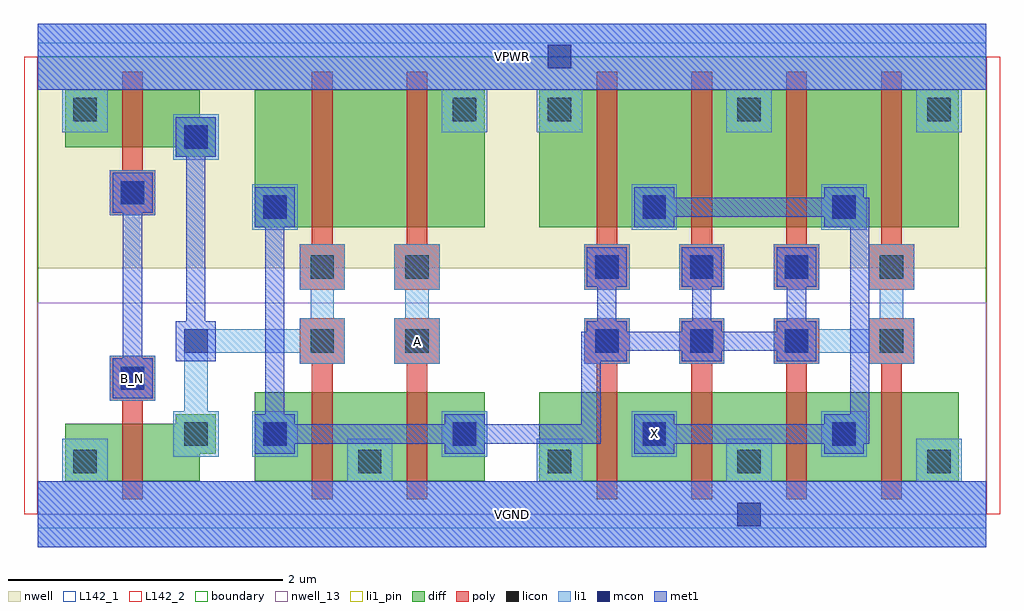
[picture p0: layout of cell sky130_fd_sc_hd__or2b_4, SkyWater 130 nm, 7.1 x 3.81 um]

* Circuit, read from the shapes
.subckt sky130_fd_sc_hd__or2b_4 A B_N VGND VPWR X
XM1 n1 B_N VGND VSUBS sky130_fd_pr__nfet_01v8 w=0.42 l=0.15
XM2 VGND n1 n2 VSUBS sky130_fd_pr__nfet_01v8 w=0.65 l=0.15
XM3 n2 A VGND VSUBS sky130_fd_pr__nfet_01v8 w=0.65 l=0.15
XM4 X n2 VGND VSUBS sky130_fd_pr__nfet_01v8 w=0.65 l=0.15 m=4
XM5 n1 B_N VPWR n3 sky130_fd_pr__pfet_01v8 w=0.42 l=0.15
XM6 n4 n1 n2 n3 sky130_fd_pr__pfet_01v8 w=1 l=0.15
XM7 VPWR A n4 n3 sky130_fd_pr__pfet_01v8 w=1 l=0.15
XM8 X n2 VPWR n3 sky130_fd_pr__pfet_01v8 w=1 l=0.15 m=4
.ends

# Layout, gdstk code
import gdstk
lib = gdstk.Library(unit=1e-6, precision=1e-09)
def R(c, l, rs):  # rectangles x0, y0, x1, y1
    for r in rs: c.add(gdstk.rectangle(r[:2], r[2:], *l))
def A(c, l, x, y, w, h, nx, ny, dx, dy):  # array of equal rectangles
    R(c, l, [(x+i*dx, y+j*dy, x+i*dx+w, y+j*dy+h) for i in range(nx) for j in range(ny)])
def P(c, l, *ps):  # polygons
    for p in ps: c.add(gdstk.Polygon(p, *l))
nwell_13 = (64, 13)
nwell = (64, 20)
diff = (65, 20)
poly = (66, 20)
licon = (66, 44)
li1_pin = (67, 16)
li1 = (67, 20)
mcon = (67, 44)
met1 = (68, 20)
L142_1 = (142, 1)
L142_2 = (142, 2)
boundary = (235, 4)

sky130_fd_sc_hd__or2b_4 = lib.new_cell('sky130_fd_sc_hd__or2b_4')
R(sky130_fd_sc_hd__or2b_4, nwell_13, [(0,0,6.9,1.54)])
R(sky130_fd_sc_hd__or2b_4, nwell, [(0,1.79,6.9,3.33)])
A(sky130_fd_sc_hd__or2b_4, diff, 4.065, 0.24, 0.69, 0.65, 3, 1, 0.69, 0)
A(sky130_fd_sc_hd__or2b_4, diff, 4.065, 2.09, 0.69, 1, 3, 1, 0.69, 0)
R(sky130_fd_sc_hd__or2b_4, diff, [(0.2,0.24,1.18,0.66), (0.2,0.24,0.615,0.66), (1.58,0.24,3.25,0.89), (1.58,0.24,1.995,0.89), (1.995,0.24,2.685,0.89), (2.685,0.24,3.25,0.89), (3.65,0.24,6.7,0.89), (3.65,0.24,4.065,0.89), (6.135,0.24,6.7,0.89), (1.58,2.09,3.25,3.09), (1.58,2.09,1.995,3.09), (1.995,2.09,2.685,3.09), (2.685,2.09,3.25,3.09), (3.65,2.09,6.7,3.09), (3.65,2.09,4.065,3.09), (6.135,2.09,6.7,3.09), (0.2,2.67,1.18,3.09), (0.2,2.67,0.615,3.09)])
P(sky130_fd_sc_hd__or2b_4, diff, [(0.615,0.24),(0.615,0.66),(1.005,0.66),(1.005,0.73),(1.295,0.73),(1.295,0.44),(1.18,0.44),(1.18,0.24)],
  [(1.005,2.6),(1.005,2.67),(0.615,2.67),(0.615,3.09),(1.18,3.09),(1.18,2.89),(1.295,2.89),(1.295,2.6)])
P(sky130_fd_sc_hd__or2b_4, poly, [(1.995,0.11),(1.995,1.095),(1.905,1.095),(1.905,1.425),(2.235,1.425),(2.235,1.095),(2.145,1.095),(2.145,0.11)],
  [(1.905,1.635),(1.905,1.965),(1.995,1.965),(1.995,3.22),(2.145,3.22),(2.145,1.965),(2.235,1.965),(2.235,1.635)],
  [(4.065,0.11),(4.065,1.095),(3.975,1.095),(3.975,1.425),(4.305,1.425),(4.305,1.095),(4.215,1.095),(4.215,0.11)],
  [(4.755,0.11),(4.755,1.095),(4.665,1.095),(4.665,1.425),(4.995,1.425),(4.995,1.095),(4.905,1.095),(4.905,0.11)],
  [(5.445,0.11),(5.445,1.095),(5.355,1.095),(5.355,1.425),(5.685,1.425),(5.685,1.095),(5.595,1.095),(5.595,0.11)],
  [(6.135,0.11),(6.135,1.095),(6.045,1.095),(6.045,1.425),(6.375,1.425),(6.375,1.095),(6.285,1.095),(6.285,0.11)],
  [(3.975,1.635),(3.975,1.965),(4.065,1.965),(4.065,3.22),(4.215,3.22),(4.215,1.965),(4.305,1.965),(4.305,1.635)],
  [(4.665,1.635),(4.665,1.965),(4.755,1.965),(4.755,3.22),(4.905,3.22),(4.905,1.965),(4.995,1.965),(4.995,1.635)],
  [(5.355,1.635),(5.355,1.965),(5.445,1.965),(5.445,3.22),(5.595,3.22),(5.595,1.965),(5.685,1.965),(5.685,1.635)],
  [(6.045,1.635),(6.045,1.965),(6.135,1.965),(6.135,3.22),(6.285,3.22),(6.285,1.965),(6.375,1.965),(6.375,1.635)],
  [(0.615,0.11),(0.615,0.825),(0.525,0.825),(0.525,1.155),(0.855,1.155),(0.855,0.825),(0.765,0.825),(0.765,0.11)],
  [(0.525,2.175),(0.525,2.505),(0.615,2.505),(0.615,3.22),(0.765,3.22),(0.765,2.505),(0.855,2.505),(0.855,2.175)],
  [(2.685,0.11),(2.685,1.095),(2.595,1.095),(2.595,1.425),(2.925,1.425),(2.925,1.095),(2.835,1.095),(2.835,0.11)],
  [(2.595,1.635),(2.595,1.965),(2.685,1.965),(2.685,3.22),(2.835,3.22),(2.835,1.965),(2.925,1.965),(2.925,1.635)])
A(sky130_fd_sc_hd__or2b_4, licon, 2.33, 0.3, 0.17, 0.17, 4, 1, 1.38, 0)
A(sky130_fd_sc_hd__or2b_4, licon, 1.64, 0.5, 0.17, 0.17, 4, 1, 1.38, 0)
A(sky130_fd_sc_hd__or2b_4, licon, 4.055, 1.175, 0.17, 0.17, 4, 2, 0.69, 0.54)
A(sky130_fd_sc_hd__or2b_4, licon, 3.71, 2.86, 0.17, 0.17, 3, 1, 1.38, 0)
R(sky130_fd_sc_hd__or2b_4, licon, [(0.26,0.3,0.43,0.47), (1.065,0.5,1.235,0.67), (0.605,0.905,0.775,1.075), (1.985,1.175,2.155,1.345), (2.675,1.175,2.845,1.345), (1.985,1.715,2.155,1.885), (2.675,1.715,2.845,1.885), (1.64,2.15,1.81,2.32), (4.4,2.15,4.57,2.32), (5.78,2.15,5.95,2.32), (0.605,2.255,0.775,2.425), (1.065,2.66,1.235,2.83), (0.26,2.86,0.43,3.03), (3.02,2.86,3.19,3.03)])
R(sky130_fd_sc_hd__or2b_4, li1_pin, [(0,-0.24,6.9,0.24), (4.32,0.42,4.65,0.75), (0.525,0.825,0.855,1.155), (0,3.09,6.9,3.57)])
P(sky130_fd_sc_hd__or2b_4, li1_pin, [(2.595,1.095),(2.595,1.425),(2.675,1.425),(2.675,1.635),(2.595,1.635),(2.595,1.965),(2.925,1.965),(2.925,1.635),(2.845,1.635),(2.845,1.425),(2.925,1.425),(2.925,1.095)])
A(sky130_fd_sc_hd__or2b_4, li1, 1.56, 0.42, 0.33, 0.33, 4, 1, 1.38, 0)
A(sky130_fd_sc_hd__or2b_4, li1, 3.975, 1.635, 0.33, 0.33, 3, 1, 0.69, 0)
R(sky130_fd_sc_hd__or2b_4, li1, [(0.525,0.825,0.855,1.155), (3.975,1.095,4.305,1.425), (4.665,1.095,4.995,1.425), (1.56,2.07,1.89,2.4), (4.32,2.07,4.65,2.4), (5.7,2.07,6.03,2.4), (0.525,2.175,0.855,2.505), (0.985,2.58,1.315,2.91)])
P(sky130_fd_sc_hd__or2b_4, li1, [(0.985,0.42),(0.985,0.75),(1.065,0.75),(1.065,1.345),(1.905,1.345),(1.905,1.425),(1.985,1.425),(1.985,1.635),(1.905,1.635),(1.905,1.965),(2.235,1.965),(2.235,1.635),(2.155,1.635),(2.155,1.425),(2.235,1.425),(2.235,1.095),(1.905,1.095),(1.905,1.175),(1.235,1.175),(1.235,0.75),(1.315,0.75),(1.315,0.42)],
  [(5.355,1.095),(5.355,1.425),(5.685,1.425),(5.685,1.345),(6.045,1.345),(6.045,1.425),(6.125,1.425),(6.125,1.635),(6.045,1.635),(6.045,1.965),(6.375,1.965),(6.375,1.635),(6.295,1.635),(6.295,1.425),(6.375,1.425),(6.375,1.095),(6.045,1.095),(6.045,1.175),(5.685,1.175),(5.685,1.095)],
  [(0.18,2.78),(0.18,3.09),(0,3.09),(0,3.57),(6.9,3.57),(6.9,3.09),(6.72,3.09),(6.72,2.78),(6.39,2.78),(6.39,3.09),(5.34,3.09),(5.34,2.78),(5.01,2.78),(5.01,3.09),(3.96,3.09),(3.96,2.78),(3.63,2.78),(3.63,3.09),(3.27,3.09),(3.27,2.78),(2.94,2.78),(2.94,3.09),(0.51,3.09),(0.51,2.78)],
  [(0,-0.24),(0,0.24),(0.18,0.24),(0.18,0.55),(0.51,0.55),(0.51,0.24),(2.25,0.24),(2.25,0.55),(2.58,0.55),(2.58,0.24),(3.63,0.24),(3.63,0.55),(3.96,0.55),(3.96,0.24),(5.01,0.24),(5.01,0.55),(5.34,0.55),(5.34,0.24),(6.39,0.24),(6.39,0.55),(6.72,0.55),(6.72,0.24),(6.9,0.24),(6.9,-0.24)],
  [(2.595,1.095),(2.595,1.425),(2.675,1.425),(2.675,1.635),(2.595,1.635),(2.595,1.965),(2.925,1.965),(2.925,1.635),(2.845,1.635),(2.845,1.425),(2.925,1.425),(2.925,1.095)])
A(sky130_fd_sc_hd__or2b_4, mcon, 1.64, 0.5, 0.17, 0.17, 4, 1, 1.38, 0)
A(sky130_fd_sc_hd__or2b_4, mcon, 4.055, 1.175, 0.17, 0.17, 3, 2, 0.69, 0.54)
R(sky130_fd_sc_hd__or2b_4, mcon, [(5.09,-0.085,5.26,0.085), (0.605,0.905,0.775,1.075), (1.065,1.175,1.235,1.345), (1.64,2.15,1.81,2.32), (4.4,2.15,4.57,2.32), (5.78,2.15,5.95,2.32), (0.605,2.255,0.775,2.425), (1.065,2.66,1.235,2.83), (3.71,3.245,3.88,3.415)])
R(sky130_fd_sc_hd__or2b_4, met1, [(0,-0.24,6.9,0.24), (0,3.09,6.9,3.57)])
P(sky130_fd_sc_hd__or2b_4, met1, [(1.005,1.115),(1.005,1.405),(1.08,1.405),(1.08,2.6),(1.005,2.6),(1.005,2.89),(1.295,2.89),(1.295,2.6),(1.22,2.6),(1.22,1.405),(1.295,1.405),(1.295,1.115)],
  [(1.58,0.44),(1.58,0.73),(1.655,0.73),(1.655,2.09),(1.58,2.09),(1.58,2.38),(1.87,2.38),(1.87,2.09),(1.795,2.09),(1.795,0.73),(1.87,0.73),(1.87,0.655),(2.96,0.655),(2.96,0.73),(3.25,0.73),(3.25,0.655),(3.955,0.655),(3.955,1.33),(3.995,1.33),(3.995,1.405),(4.07,1.405),(4.07,1.655),(3.995,1.655),(3.995,1.945),(4.285,1.945),(4.285,1.655),(4.21,1.655),(4.21,1.405),(4.285,1.405),(4.285,1.33),(4.685,1.33),(4.685,1.405),(4.76,1.405),(4.76,1.655),(4.685,1.655),(4.685,1.945),(4.975,1.945),(4.975,1.655),(4.9,1.655),(4.9,1.405),(4.975,1.405),(4.975,1.33),(5.375,1.33),(5.375,1.405),(5.45,1.405),(5.45,1.655),(5.375,1.655),(5.375,1.945),(5.665,1.945),(5.665,1.655),(5.59,1.655),(5.59,1.405),(5.665,1.405),(5.665,1.115),(5.375,1.115),(5.375,1.19),(4.975,1.19),(4.975,1.115),(4.685,1.115),(4.685,1.19),(4.285,1.19),(4.285,1.115),(4.095,1.115),(4.095,0.515),(3.25,0.515),(3.25,0.44),(2.96,0.44),(2.96,0.515),(1.87,0.515),(1.87,0.44)],
  [(0.545,0.845),(0.545,1.135),(0.62,1.135),(0.62,2.195),(0.545,2.195),(0.545,2.485),(0.835,2.485),(0.835,2.195),(0.76,2.195),(0.76,1.135),(0.835,1.135),(0.835,0.845)],
  [(4.34,0.44),(4.34,0.73),(4.63,0.73),(4.63,0.655),(5.72,0.655),(5.72,0.73),(5.91,0.73),(5.91,2.09),(5.72,2.09),(5.72,2.165),(4.63,2.165),(4.63,2.09),(4.34,2.09),(4.34,2.38),(4.63,2.38),(4.63,2.305),(5.72,2.305),(5.72,2.38),(6.01,2.38),(6.01,2.305),(6.05,2.305),(6.05,0.515),(6.01,0.515),(6.01,0.44),(5.72,0.44),(5.72,0.515),(4.63,0.515),(4.63,0.44)])
R(sky130_fd_sc_hd__or2b_4, L142_1, [(0,-0.1,6.9,0), (0,3.33,6.9,3.43)])
R(sky130_fd_sc_hd__or2b_4, L142_2, [(-0.1,0,0,3.33), (6.9,0,7,3.33)])
R(sky130_fd_sc_hd__or2b_4, boundary, [(0,0,6.9,3.33)])
sky130_fd_sc_hd__or2b_4.add(gdstk.Label('X', (4.485,0.585), layer=67, texttype=5))
sky130_fd_sc_hd__or2b_4.add(gdstk.Label('B_N', (0.69,0.99), layer=67, texttype=5))
sky130_fd_sc_hd__or2b_4.add(gdstk.Label('A', (2.76,1.26), layer=67, texttype=5))
sky130_fd_sc_hd__or2b_4.add(gdstk.Label('VGND', (3.45,0), layer=67, texttype=5))
sky130_fd_sc_hd__or2b_4.add(gdstk.Label('VPWR', (3.45,3.33), layer=67, texttype=5))
sky130_fd_sc_hd__or2b_4.add(gdstk.Label('VGND', (3.45,0), layer=68, texttype=5))
sky130_fd_sc_hd__or2b_4.add(gdstk.Label('VPWR', (3.45,3.33), layer=68, texttype=5))

lib.write_gds('sky130_fd_sc_hd__or2b_4.gds')
